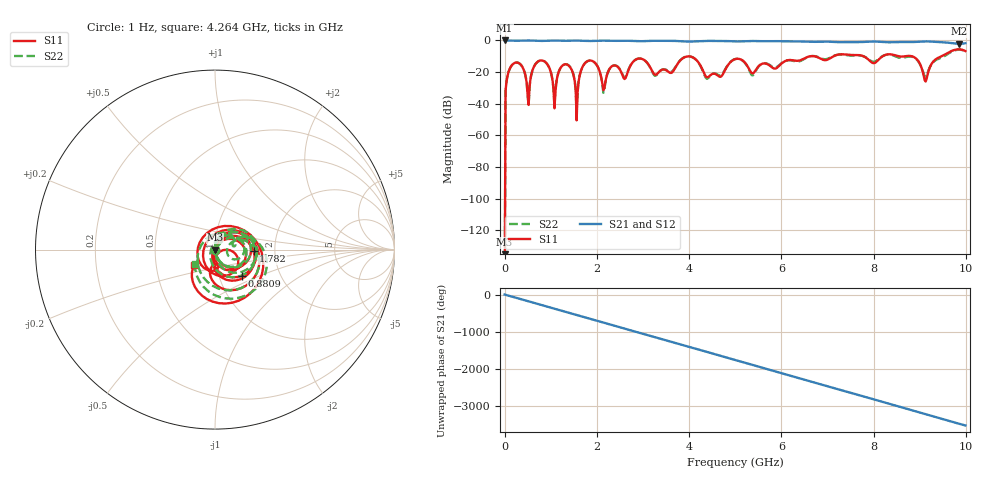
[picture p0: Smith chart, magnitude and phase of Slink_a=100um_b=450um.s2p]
! TouchStone data converted from IdEM dataset
# Hz S DB R 50
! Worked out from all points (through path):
!   500 points, 1 Hz to 9.99 GHz, reference 50 ohm
!   highest |S21| = 0.00 dB at 1 Hz (marker M1); lowest = -2.1 dB at 9.85 GHz (marker M2)
!   group delay of S21, straight-line fit = 977 ps
!   lowest |S11| = -178.1 dB at 1 Hz (marker M3), VSWR 1.00, Z = 50 + j1.24e-07 ohm
!   |S11| at or under -10 dB: start of sweep to 6.624 GHz; 6.717 GHz to 7.13 GHz (413.4 MHz wide, 5.97 % of centre); 8.832 GHz to 9.472 GHz (640 MHz wide, 6.99 % of centre)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
!   |S22| runs from -178.1 to -5.9 dB; largest |S21 - S12| = 3.4e-15
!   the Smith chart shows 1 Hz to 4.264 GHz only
!   S11 on the Smith chart (normalised r, x): 1 Hz: 1.00, +0.00; 880.9 MHz: 1.29, -0.39; 1.782 GHz: 1.55, -0.03; 4.264 GHz: 0.78, -0.14
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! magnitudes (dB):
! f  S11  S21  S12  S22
! 1 Hz  -178.1  0.0  0.0  -178.1
! 60.06 MHz  -22.8  0.0  0.0  -22.8
! 140.1 MHz  -16.4  -0.1  -0.1  -16.4
! 360.4 MHz  -15.6  -0.1  -0.1  -15.6
! 520.5 MHz  -40.8  0.0  0.0  -41.1
! 880.9 MHz  -13.6  -0.2  -0.2  -13.6
! 1.081 GHz  -42.9  -0.1  -0.1  -40.5
! 1.341 GHz  -15.1  -0.2  -0.2  -15.1
! 1.562 GHz  -50.5  -0.1  -0.1  -44.7
! 1.682 GHz  -17.2  -0.2  -0.2  -17.2
! 1.782 GHz  -13.4  -0.3  -0.3  -13.3
! 2.142 GHz  -31.5  -0.1  -0.1  -33.1
! 2.883 GHz  -11.6  -0.5  -0.5  -11.6
! 3.343 GHz  -20.0  -0.2  -0.2  -20.2
! 4.264 GHz  -16.9  -0.3  -0.3  -17.1
! 5.005 GHz  -11.7  -0.6  -0.6  -11.7
! 5.385 GHz  -20.8  -0.3  -0.3  -22.0
! 6.667 GHz  -9.9  -0.9  -0.9  -9.8
! 8.328 GHz  -8.7  -1.2  -1.2  -8.9
! 9.129 GHz  -25.9  -0.6  -0.6  -23.1
! 9.85 GHz  -5.6  -2.1  -2.1  -5.9
! 9.99 GHz  -6.7  -1.7  -1.7  -6.8
